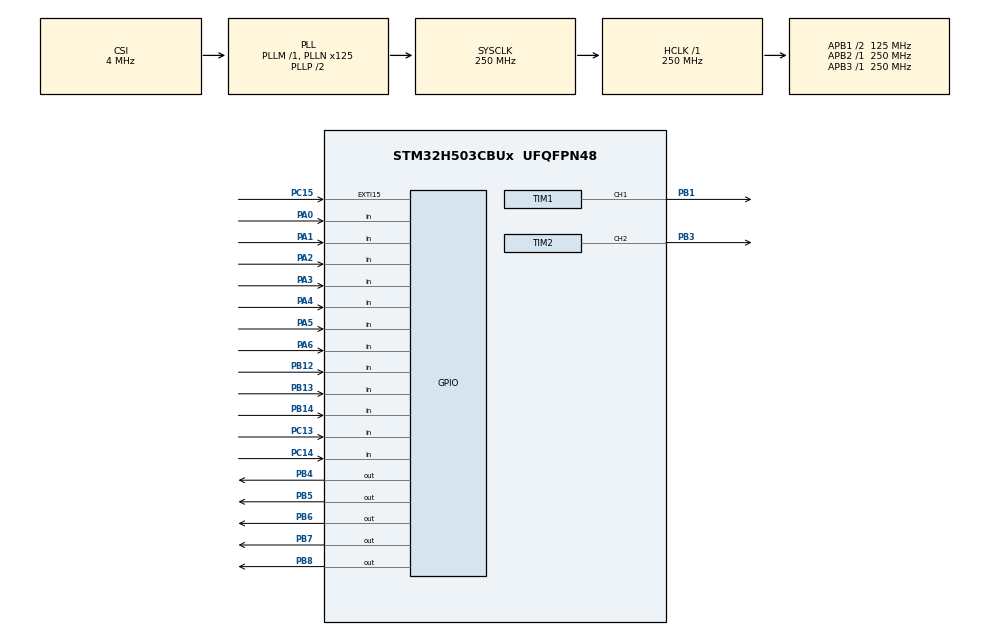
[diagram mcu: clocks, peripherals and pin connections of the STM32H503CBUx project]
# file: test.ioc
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BOOTPATH.BootPathName=LEGACY
BOOTPATH.UserSelectedBootPath=LEGACY
Mcu.Family=STM32H5
Mcu.Name=STM32H503CBUx
Mcu.Package=UFQFPN48
NVIC.EXTI15_IRQn=true\:0\:0\:false\:false\:true\:true\:true\:true
NVIC.PriorityGroup=NVIC_PRIORITYGROUP_4
PA0.Signal=GPIO_Input
PA1.Signal=GPIO_Input
PA2.Signal=GPIO_Input
PA3.Signal=GPIO_Input
PA4.Signal=GPIO_Input
PA5.Signal=GPIO_Input
PA6.Signal=GPIO_Input
PB1.Signal=S_TIM1_CH1
PB12.GPIO_PuPd=GPIO_PULLUP
PB12.Signal=GPIO_Input
PB13.GPIO_PuPd=GPIO_PULLUP
PB13.Signal=GPIO_Input
PB14.GPIO_PuPd=GPIO_PULLUP
PB14.Signal=GPIO_Input
PB3(JTDO/TRACESWO).Signal=S_TIM2_CH2
PB4(NJTRST).Signal=GPIO_Output
PB5.Signal=GPIO_Output
PB6.Signal=GPIO_Output
PB7.Signal=GPIO_Output
PB8.Signal=GPIO_Output
PC13.Signal=GPIO_Input
PC14-OSC32_IN(OSC32_IN).Signal=GPIO_Input
PC15-OSC32_OUT(OSC32_OUT).Signal=GPXTI15
ProjectManager.HeapSize=0x200
ProjectManager.StackSize=0x400
ProjectManager.TargetToolchain=STM32CubeIDE
RCC.ADCFreq_Value=250000000
RCC.AHBFreq_Value=250000000
RCC.APB1CLKDivider=RCC_HCLK_DIV2
RCC.APB1Freq_Value=125000000
RCC.APB1TimFreq_Value=250000000
RCC.APB2Freq_Value=250000000
RCC.APB2TimFreq_Value=250000000
RCC.APB3Freq_Value=250000000
RCC.CSI_VALUE=4000000
RCC.CortexFreq_Value=250000000
RCC.EPOD_VALUE=4000000
RCC.HCLKFreq_Value=250000000
RCC.HSE_VALUE=25000000
RCC.HSI48_VALUE=48000000
RCC.HSI_VALUE=64000000
RCC.LSE_VALUE=32768
RCC.LSIRC_VALUE=32000
RCC.PLL2FRACN=0
RCC.PLLFRACN=0
RCC.PLLN=125
RCC.SYSCLKFreq_VALUE=250000000
RCC.SYSCLKSource=RCC_SYSCLKSOURCE_PLLCLK
RCC.USBFreq_Value=48000000
RCC.VCOOutputFreq_Value=500000000
SH.S_TIM1_CH1.0=TIM1_CH1,PWM Generation1 CH1
SH.S_TIM2_CH2.0=TIM2_CH2,PWM Generation2 CH2
TIM1.Channel-PWM\ Generation1\ CH1=TIM_CHANNEL_1
TIM1.PeriodNoDither=999
TIM1.Prescaler=79
TIM1.PulseNoDither_1=499
TIM2.Channel-PWM\ Generation2\ CH2=TIM_CHANNEL_2
TIM2.PeriodNoDither=999
TIM2.Prescaler=79
TIM2.PulseNoDither_2=199
VP_BOOTPATH_VS_BOOTPATH.Mode=BP_Activate
VP_CORTEX_M33_NS_VS_Hclk.Mode=Hclk_Mode
VP_MEMORYMAP_VS_MEMORYMAP.Mode=CurAppReg
VP_PWR_VS_LPOM.Mode=PowerOptimisation
VP_PWR_VS_SECSignals.Mode=Security/Privilege
VP_TIM1_VS_ClockSourceINT.Mode=Internal
VP_TIM2_VS_ClockSourceINT.Mode=Internal
board=custom

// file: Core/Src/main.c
/* USER CODE BEGIN Header */
/**
 ******************************************************************************
 * @file           : main.c
 * @brief          : Main program body
 ******************************************************************************
 * @attention
 *
 * Copyright (c) 2025 STMicroelectronics.
 * All rights reserved.
 *
 * This software is licensed under terms that can be found in the LICENSE file
 * in the root directory of this software component.
 * If no LICENSE file comes with this software, it is provided AS-IS.
 *
 ******************************************************************************
 */
/* USER CODE END Header */
#include "main.h"
#include <stdlib.h> // thêm dòng này vào đầu file main.c

/* USER CODE BEGIN Includes */
//#include "stm32h"
/* USER CODE END Includes */

/* USER CODE BEGIN PD */

#define PWA TIM_CHANNEL_1
#define PWB TIM_CHANNEL_2
#define BIN1 GPIO_PIN_4
#define BIN2 GPIO_PIN_5
#define AIN1 GPIO_PIN_6
#define AIN2 GPIO_PIN_7
#define STB GPIO_PIN_8
/* USER CODE END PD */

/* USER CODE BEGIN PM */
volatile uint32_t _millis = 0;

/* USER CODE END PM */

TIM_HandleTypeDef htim1;
TIM_HandleTypeDef htim2;

/* USER CODE BEGIN PV */
uint8_t sensor[7];
// PID config
float Kp = 140;	// 130	//90	// 130
float Ki = 0;
float Kd = 30;	//30	//30

float error = 0, P = 0, I = 0, D = 0, PID_value = 0;
float previous_error = 0, previous_I = 0;
int16_t initial_motor_speed = 380;	// 500	// 375
int16_t left_motor_speed, right_motor_speed;

uint8_t stop_flag;
volatile uint8_t count = 0;
uint8_t pre_status = 0;
/* USER CODE END PV */

void SystemClock_Config(void);
static void MX_GPIO_Init(void);
static void MX_TIM1_Init(void);
static void MX_TIM2_Init(void);
/* USER CODE BEGIN PFP */

//void SysTick_Handler(void) {
//    _millis++;
//}
void millis_init(void) {
	// Reload = (HCLK / 1000) - 1  -> mỗi 1ms
	// Nếu HCLK = 250 MHz -> Reload = 250000 - 1
	uint32_t reload = (SystemCoreClock / 1000) - 1;

	SysTick->LOAD = reload;                // Giá trị reload
	SysTick->VAL = 0;                     // Reset counter
	SysTick->CTRL = SysTick_CTRL_CLKSOURCE_Msk | // Nguồn clock = HCLK
			SysTick_CTRL_TICKINT_Msk | // Enable ngắt
			SysTick_CTRL_ENABLE_Msk;     // Bật SysTick
}

uint32_t millis(void) {
	return _millis;
}

void sensor_read() {
	sensor[0] = HAL_GPIO_ReadPin(GPIOA, GPIO_PIN_0);
	sensor[1] = HAL_GPIO_ReadPin(GPIOA, GPIO_PIN_1);
	sensor[2] = HAL_GPIO_ReadPin(GPIOA, GPIO_PIN_2);
	sensor[3] = HAL_GPIO_ReadPin(GPIOA, GPIO_PIN_3);
	sensor[4] = HAL_GPIO_ReadPin(GPIOA, GPIO_PIN_4);
	sensor[5] = HAL_GPIO_ReadPin(GPIOA, GPIO_PIN_5);
	sensor[6] = HAL_GPIO_ReadPin(GPIOA, GPIO_PIN_6);
	//stop_flag = HAL_GPIO_ReadPin(GPIOC,  GPIO_PIN_15);
}

void calculate_error() {
	sensor_read();
// white line

	if ((sensor[0] == 1) && (sensor[1] == 1) && (sensor[2] == 0)
				&& (sensor[3] == 0) && sensor[4] == 1 && sensor[5] == 1
				&& sensor[6] == 1)
			error = -0.15;	//-0.2

		else if ((sensor[0] == 1) && (sensor[1] == 1) && (sensor[2] == 1)
				&& (sensor[3] == 0) && sensor[4] == 1 && sensor[5] == 1
				&& sensor[6] == 1)  // go straight
			error = 0;

		else if ((sensor[0] == 1) && (sensor[1] == 1) && (sensor[2] == 1)
				&& (sensor[3] == 0) && sensor[4] == 0 && sensor[5] == 1
				&& sensor[6] == 1)
			error = 0.15;
		else if ((sensor[0] == 0) && (sensor[1] == 1) && (sensor[2] == 1)
			&& (sensor[3] == 1) && (sensor[4] == 1) && (sensor[5] == 1)
			&& (sensor[6] == 1))
		error = -5;		// -5

		else if ((sensor[0] == 0) && (sensor[1] == 0) && (sensor[2] == 1)
				&& (sensor[3] == 1) && (sensor[4] == 1) && (sensor[5] == 1)
				&& (sensor[6] == 1))
			error = -4;		//-4

		else if ((sensor[0] == 1) && (sensor[1] == 0) && (sensor[2] == 1)
				&& (sensor[3] == 1) && (sensor[4] == 1) && (sensor[5] == 1)
				&& (sensor[6] == 1))
			error = -3;		//-3

		else if ((sensor[0] == 1) && (sensor[1] == 0) && (sensor[2] == 0)
				&& (sensor[3] == 1) && (sensor[4] == 1) && (sensor[5] == 1)
				&& (sensor[6] == 1))
			error = -1.2;		//-1.5

		else if ((sensor[0] == 1) && (sensor[1] == 1) && (sensor[2] == 0)
				&& (sensor[3] == 1) && (sensor[4] == 1) && (sensor[5] == 1)
				&& (sensor[6] == 1))
			error = -0.8;		//-0.8

		else if ((sensor[0] == 1) && (sensor[1] == 1) && (sensor[2] == 1)
				&& (sensor[3] == 1) && sensor[4] == 0 && sensor[5] == 1
				&& sensor[6] == 1)
			error = 0.8;

		else if ((sensor[0] == 1) && (sensor[1] == 1) && (sensor[2] == 1)
				&& (sensor[3] == 1) && sensor[4] == 0 && sensor[5] == 0
				&& sensor[6] == 1)
			error = 1.2;

		else if ((sensor[0] == 1) && (sensor[1] == 1) && (sensor[2] == 1)
				&& (sensor[3] == 1) && sensor[4] == 1 && sensor[5] == 0
				&& sensor[6] == 1)
			error = 3;

		else if ((sensor[0] == 1) && (sensor[1] == 1) && (sensor[2] == 1)
				&& (sensor[3] == 1) && sensor[4] == 1 && sensor[5] == 0
				&& sensor[6] == 0)
			error = 4;

		else if ((sensor[0] == 1) && (sensor[1] == 1) && (sensor[2] == 1)
				&& (sensor[3] == 1) && sensor[4] == 1 && sensor[5] == 1
				&& sensor[6] == 0)
			error = 5;

/*
	if ((sensor[0] == 0) && (sensor[1] == 1) && (sensor[2] == 1)
			&& (sensor[3] == 1) && (sensor[4] == 1) && (sensor[5] == 1)
			&& (sensor[6] == 1))
		error = -5;		// -5

	else if ((sensor[0] == 0) && (sensor[1] == 0) && (sensor[2] == 1)
			&& (sensor[3] == 1) && (sensor[4] == 1) && (sensor[5] == 1)
			&& (sensor[6] == 1))
		error = -4;		//-4

	else if ((sensor[0] == 1) && (sensor[1] == 0) && (sensor[2] == 1)
			&& (sensor[3] == 1) && (sensor[4] == 1) && (sensor[5] == 1)
			&& (sensor[6] == 1))
		error = -3;		//-3

	else if ((sensor[0] == 1) && (sensor[1] == 0) && (sensor[2] == 0)
			&& (sensor[3] == 1) && (sensor[4] == 1) && (sensor[5] == 1)
			&& (sensor[6] == 1))
		error = -1.2;		//-1.5

	else if ((sensor[0] == 1) && (sensor[1] == 1) && (sensor[2] == 0)
			&& (sensor[3] == 1) && (sensor[4] == 1) && (sensor[5] == 1)
			&& (sensor[6] == 1))
		error = -0.8;		//-0.8

	else if ((sensor[0] == 1) && (sensor[1] == 1) && (sensor[2] == 0)
			&& (sensor[3] == 0) && sensor[4] == 1 && sensor[5] == 1
			&& sensor[6] == 1)
		error = -0.15;	//-0.2

	else if ((sensor[0] == 1) && (sensor[1] == 1) && (sensor[2] == 1)
			&& (sensor[3] == 0) && sensor[4] == 1 && sensor[5] == 1
			&& sensor[6] == 1)  // go straight
		error = 0;

	else if ((sensor[0] == 1) && (sensor[1] == 1) && (sensor[2] == 1)
			&& (sensor[3] == 0) && sensor[4] == 0 && sensor[5] == 1
			&& sensor[6] == 1)
		error = 0.15;

	else if ((sensor[0] == 1) && (sensor[1] == 1) && (sensor[2] == 1)
			&& (sensor[3] == 1) && sensor[4] == 0 && sensor[5] == 1
			&& sensor[6] == 1)
		error = 0.8;

	else if ((sensor[0] == 1) && (sensor[1] == 1) && (sensor[2] == 1)
			&& (sensor[3] == 1) && sensor[4] == 0 && sensor[5] == 0
			&& sensor[6] == 1)
		error = 1.2;

	else if ((sensor[0] == 1) && (sensor[1] == 1) && (sensor[2] == 1)
			&& (sensor[3] == 1) && sensor[4] == 1 && sensor[5] == 0
			&& sensor[6] == 1)
		error = 3;

	else if ((sensor[0] == 1) && (sensor[1] == 1) && (sensor[2] == 1)
			&& (sensor[3] == 1) && sensor[4] == 1 && sensor[5] == 0
			&& sensor[6] == 0)
		error = 4;

	else if ((sensor[0] == 1) && (sensor[1] == 1) && (sensor[2] == 1)
			&& (sensor[3] == 1) && sensor[4] == 1 && sensor[5] == 1
			&& sensor[6] == 0)
		error = 5;

		*/
	/*
	 // black line
	 if ((sensor[0] == 1) && (sensor[1] == 0) && (sensor[2] == 0) && (sensor[3] == 0) && (sensor[4] == 0) && (sensor[5] == 0) && (sensor[6] == 0))
	 error = -3;

	 else if ((sensor[0] == 1) && (sensor[1] == 1) && (sensor[2] == 0) && (sensor[3] == 0) && (sensor[4] == 0) && (sensor[5] == 0) && (sensor[6] == 0))
	 error = -2.5;

	 else if ((sensor[0] == 0) && (sensor[1] == 1) && (sensor[2] == 0) && (sensor[3] == 0) && (sensor[4] == 0) && (sensor[5] == 0) && (sensor[6] == 0))
	 error = -2;

	 else if ((sensor[0] == 0) && (sensor[1] == 1) && (sensor[2] == 1) && (sensor[3] == 0) && (sensor[4] == 0) && (sensor[5] == 0) && (sensor[6] == 0))
	 error = -1.5;

	 else if ((sensor[0] == 0) && (sensor[1] == 0) && (sensor[2] == 1) && (sensor[3] == 0) && (sensor[4] == 0) && (sensor[5] == 0) && (sensor[6] == 0))
	 error = -1;

	 else if ((sensor[0] == 0) && (sensor[1] == 0) && (sensor[2] == 1) && (sensor[3] == 1) && (sensor[4] == 0) && (sensor[5] == 0) && (sensor[6] == 0))
	 error = -0.5;

	 else if ((sensor[0] == 0) && (sensor[1] == 0) && (sensor[2] == 0) && (sensor[3] == 1) && (sensor[4] == 0) && (sensor[5] == 0) && (sensor[6] == 0))
	 error = 0;

	 else if ((sensor[0] == 0) && (sensor[1] == 0) && (sensor[2] == 0) && (sensor[3] == 1) && (sensor[4] == 1) && (sensor[5] == 0) && (sensor[6] == 0))
	 error = 0.5;

	 else if ((sensor[0] == 0) && (sensor[1] == 0) && (sensor[2] == 0) && (sensor[3] == 0) && (sensor[4] == 1) && (sensor[5] == 0) && (sensor[6] == 0))
	 error = 1;

	 else if ((sensor[0] == 0) && (sensor[1] == 0) && (sensor[2] == 0) && (sensor[3] == 0) && (sensor[4] == 1) && (sensor[5] == 1) && (sensor[6] == 0))
	 error = 1.5;

	 else if ((sensor[0] == 0) && (sensor[1] == 0) && (sensor[2] == 0) && (sensor[3] == 0) && (sensor[4] == 0) && (sensor[5] == 1) && (sensor[6] == 0))
	 error = 2;

	 else if ((sensor[0] == 0) && (sensor[1] == 0) && (sensor[2] == 0) && (sensor[3] == 0) && (sensor[4] == 0) && (sensor[5] == 1) && (sensor[6] == 1))
	 error = 2.5;

	 else if ((sensor[0] == 0) && (sensor[1] == 0) && (sensor[2] == 0) && (sensor[3] == 0) && (sensor[4] == 0) && (sensor[5] == 0) && (sensor[6] == 1))
	 error = 3;
	 */
}

void forward() {
	HAL_GPIO_WritePin(GPIOB, GPIO_PIN_6, 0);
	HAL_GPIO_WritePin(GPIOB, GPIO_PIN_7, 1);
	HAL_GPIO_WritePin(GPIOB, GPIO_PIN_4, 1);
	HAL_GPIO_WritePin(GPIOB, GPIO_PIN_5, 0);
}

void set_speed(int16_t speed1, int16_t speed2) {

	if (speed1 < 0) {
		HAL_GPIO_WritePin(GPIOB, GPIO_PIN_6, 1);
		HAL_GPIO_WritePin(GPIOB, GPIO_PIN_7, 0);
	} else {
		HAL_GPIO_WritePin(GPIOB, GPIO_PIN_6, 0);
		HAL_GPIO_WritePin(GPIOB, GPIO_PIN_7, 1);
	}
	if (speed2 < 0) {
		HAL_GPIO_WritePin(GPIOB, GPIO_PIN_4, 0);
		HAL_GPIO_WritePin(GPIOB, GPIO_PIN_5, 1);
	} else {
		HAL_GPIO_WritePin(GPIOB, GPIO_PIN_4, 1);
		HAL_GPIO_WritePin(GPIOB, GPIO_PIN_5, 0);
	}

	__HAL_TIM_SET_COMPARE(&htim1, TIM_CHANNEL_1, abs(speed1));
	__HAL_TIM_SET_COMPARE(&htim2, TIM_CHANNEL_2, abs(speed2));
	/*
	 __HAL_TIM_SET_COMPARE(&htim1, TIM_CHANNEL_1, abs(speed1));
	 __HAL_TIM_SET_COMPARE(&htim2, TIM_CHANNEL_2, abs(speed2));
	 */

}

int constrain(int x, int a, int b) {
	if (x < a)
		return a;
	else if (x > b)
		return b;
	else
		return x;
}

void calculate_pid() {
	P = error;
	I = I + error;
	D = error - previous_error;

	PID_value = (Kp * P) + (Ki * I) + (Kd * D);

	previous_I = I;
	previous_error = error;
}

void motor_control() {
	// Calculating the effective motor speed:

	left_motor_speed = initial_motor_speed + PID_value;   //200
	right_motor_speed = initial_motor_speed - PID_value;  //0

	left_motor_speed = constrain(left_motor_speed, -300, 999);    //0
	right_motor_speed = constrain(right_motor_speed, -300, 999);  //210

	set_speed(left_motor_speed, right_motor_speed);

	//forward();
}
/* USER CODE END PFP */

/* USER CODE BEGIN 0 */

void HAL_GPIO_EXTI_Rising_Callback(uint16_t GPIO_Pin) {
	UNUSED(GPIO_Pin);

	count++;
//	if (count == 14) {
//		Kp = 150;	// 130	//90	// 130
//		Ki = 0;
//		Kd = 30;
//		initial_motor_speed = 380;
//	}

	if (count == 14) {
		set_speed(500, 500);
		forward();
		//HAL_Delay(300);
		for (int i = 0; i < 1000000; i++)
			;
		set_speed(0, 0);

		while (1)
			;
	}

}

/* USER CODE END 0 */

int main(void) {

	/* MCU Configuration--------------------------------------------------------*/

	/* Reset of all peripherals, Initializes the Flash interface and the Systick. */
	HAL_Init();

	/* Configure the system clock */
	SystemClock_Config();

	/* Initialize all configured peripherals */
	MX_GPIO_Init();
	MX_TIM1_Init();
	MX_TIM2_Init();
	millis_init();
	/* USER CODE BEGIN 2 */
	HAL_TIM_PWM_Start(&htim1, TIM_CHANNEL_1);
	HAL_TIM_PWM_Start(&htim2, TIM_CHANNEL_2);

	HAL_GPIO_WritePin(GPIOB, GPIO_PIN_8, 1);	// enable STBY
	//int i=0;
	/* USER CODE END 2 */

	/* Infinite loop */
	/* USER CODE BEGIN WHILE */

	HAL_GPIO_WritePin(GPIOB, GPIO_PIN_8, 1);	// enable STBY
	while (1) {
		if (HAL_GPIO_ReadPin(GPIOB, GPIO_PIN_12) == 0)
		{
			Kp = 160;	// 130	//90	// 130	//175
			Ki = 0;
			Kd = 110;		//70	//100
			initial_motor_speed = 600;	//600
			break;
		}

		if (HAL_GPIO_ReadPin(GPIOB, GPIO_PIN_13) == 0)
		{
			Kp = 175;	// 130	//90	// 130	//175
			Ki = 0;
			Kd = 115;		//70	//100
			initial_motor_speed = 650;	//600
			break;
		}

		if (HAL_GPIO_ReadPin(GPIOB, GPIO_PIN_14) == 0)
		{
			Kp = 180;	// 130	//90	// 130	//175
			Ki = 0;
			Kd = 120;		//70	//100
			initial_motor_speed = 700;	//600
			break;
		}

	}
	HAL_Delay(1000);
	set_speed(400, 400);
	forward();
	HAL_Delay(200);
	while (1) {
		calculate_error();
		calculate_pid();
		motor_control();

	}
	/* USER CODE END 3 */
}

void SystemClock_Config(void) {
	RCC_OscInitTypeDef RCC_OscInitStruct = { 0 };
	RCC_ClkInitTypeDef RCC_ClkInitStruct = { 0 };

	/** Configure the main internal regulator output voltage
	 */
	__HAL_PWR_VOLTAGESCALING_CONFIG(PWR_REGULATOR_VOLTAGE_SCALE0);

	while (!__HAL_PWR_GET_FLAG(PWR_FLAG_VOSRDY)) {
	}

	/** Initializes the RCC Oscillators according to the specified parameters
	 * in the RCC_OscInitTypeDef structure.
	 */
	RCC_OscInitStruct.OscillatorType = RCC_OSCILLATORTYPE_CSI;
	RCC_OscInitStruct.CSIState = RCC_CSI_ON;
	RCC_OscInitStruct.CSICalibrationValue = RCC_CSICALIBRATION_DEFAULT;
	RCC_OscInitStruct.PLL.PLLState = RCC_PLL_ON;
	RCC_OscInitStruct.PLL.PLLSource = RCC_PLL1_SOURCE_CSI;
	RCC_OscInitStruct.PLL.PLLM = 1;
	RCC_OscInitStruct.PLL.PLLN = 125;
	RCC_OscInitStruct.PLL.PLLP = 2;
	RCC_OscInitStruct.PLL.PLLQ = 2;
	RCC_OscInitStruct.PLL.PLLR = 2;
	RCC_OscInitStruct.PLL.PLLRGE = RCC_PLL1_VCIRANGE_2;
	RCC_OscInitStruct.PLL.PLLVCOSEL = RCC_PLL1_VCORANGE_WIDE;
	RCC_OscInitStruct.PLL.PLLFRACN = 0;
	if (HAL_RCC_OscConfig(&RCC_OscInitStruct) != HAL_OK) {
		Error_Handler();
	}

	/** Initializes the CPU, AHB and APB buses clocks
	 */
	RCC_ClkInitStruct.ClockType = RCC_CLOCKTYPE_HCLK | RCC_CLOCKTYPE_SYSCLK
			| RCC_CLOCKTYPE_PCLK1 | RCC_CLOCKTYPE_PCLK2 | RCC_CLOCKTYPE_PCLK3;
	RCC_ClkInitStruct.SYSCLKSource = RCC_SYSCLKSOURCE_PLLCLK;
	RCC_ClkInitStruct.AHBCLKDivider = RCC_SYSCLK_DIV1;
	RCC_ClkInitStruct.APB1CLKDivider = RCC_HCLK_DIV2;
	RCC_ClkInitStruct.APB2CLKDivider = RCC_HCLK_DIV1;
	RCC_ClkInitStruct.APB3CLKDivider = RCC_HCLK_DIV1;

	if (HAL_RCC_ClockConfig(&RCC_ClkInitStruct, FLASH_LATENCY_5) != HAL_OK) {
		Error_Handler();
	}

	/** Configure the programming delay
	 */
	__HAL_FLASH_SET_PROGRAM_DELAY(FLASH_PROGRAMMING_DELAY_2);
}

static void MX_TIM1_Init(void) {

	TIM_ClockConfigTypeDef sClockSourceConfig = { 0 };
	TIM_MasterConfigTypeDef sMasterConfig = { 0 };
	TIM_OC_InitTypeDef sConfigOC = { 0 };
	TIM_BreakDeadTimeConfigTypeDef sBreakDeadTimeConfig = { 0 };

	htim1.Instance = TIM1;
	htim1.Init.Prescaler = 79;
	htim1.Init.CounterMode = TIM_COUNTERMODE_UP;
	htim1.Init.Period = 999;
	htim1.Init.ClockDivision = TIM_CLOCKDIVISION_DIV1;
	htim1.Init.RepetitionCounter = 0;
	htim1.Init.AutoReloadPreload = TIM_AUTORELOAD_PRELOAD_DISABLE;
	if (HAL_TIM_Base_Init(&htim1) != HAL_OK) {
		Error_Handler();
	}
	sClockSourceConfig.ClockSource = TIM_CLOCKSOURCE_INTERNAL;
	if (HAL_TIM_ConfigClockSource(&htim1, &sClockSourceConfig) != HAL_OK) {
		Error_Handler();
	}
	if (HAL_TIM_PWM_Init(&htim1) != HAL_OK) {
		Error_Handler();
	}
	sMasterConfig.MasterOutputTrigger = TIM_TRGO_RESET;
	sMasterConfig.MasterOutputTrigger2 = TIM_TRGO2_RESET;
	sMasterConfig.MasterSlaveMode = TIM_MASTERSLAVEMODE_DISABLE;
	if (HAL_TIMEx_MasterConfigSynchronization(&htim1, &sMasterConfig)
			!= HAL_OK) {
		Error_Handler();
	}
	sConfigOC.OCMode = TIM_OCMODE_PWM1;
	sConfigOC.Pulse = 499;
	sConfigOC.OCPolarity = TIM_OCPOLARITY_HIGH;
	sConfigOC.OCNPolarity = TIM_OCNPOLARITY_HIGH;
	sConfigOC.OCFastMode = TIM_OCFAST_DISABLE;
	sConfigOC.OCIdleState = TIM_OCIDLESTATE_RESET;
	sConfigOC.OCNIdleState = TIM_OCNIDLESTATE_RESET;
	if (HAL_TIM_PWM_ConfigChannel(&htim1, &sConfigOC, TIM_CHANNEL_1)
			!= HAL_OK) {
		Error_Handler();
	}
	sBreakDeadTimeConfig.OffStateRunMode = TIM_OSSR_DISABLE;
	sBreakDeadTimeConfig.OffStateIDLEMode = TIM_OSSI_DISABLE;
	sBreakDeadTimeConfig.LockLevel = TIM_LOCKLEVEL_OFF;
	sBreakDeadTimeConfig.DeadTime = 0;
	sBreakDeadTimeConfig.BreakState = TIM_BREAK_DISABLE;
	sBreakDeadTimeConfig.BreakPolarity = TIM_BREAKPOLARITY_HIGH;
	sBreakDeadTimeConfig.BreakFilter = 0;
	sBreakDeadTimeConfig.BreakAFMode = TIM_BREAK_AFMODE_INPUT;
	sBreakDeadTimeConfig.Break2State = TIM_BREAK2_DISABLE;
	sBreakDeadTimeConfig.Break2Polarity = TIM_BREAK2POLARITY_HIGH;
	sBreakDeadTimeConfig.Break2Filter = 0;
	sBreakDeadTimeConfig.Break2AFMode = TIM_BREAK_AFMODE_INPUT;
	sBreakDeadTimeConfig.AutomaticOutput = TIM_AUTOMATICOUTPUT_DISABLE;
	if (HAL_TIMEx_ConfigBreakDeadTime(&htim1, &sBreakDeadTimeConfig)
			!= HAL_OK) {
		Error_Handler();
	}
	HAL_TIM_MspPostInit(&htim1);

}

static void MX_TIM2_Init(void) {

	TIM_ClockConfigTypeDef sClockSourceConfig = { 0 };
	TIM_MasterConfigTypeDef sMasterConfig = { 0 };
	TIM_OC_InitTypeDef sConfigOC = { 0 };

	htim2.Instance = TIM2;
	htim2.Init.Prescaler = 79;
	htim2.Init.CounterMode = TIM_COUNTERMODE_UP;
	htim2.Init.Period = 999;
	htim2.Init.ClockDivision = TIM_CLOCKDIVISION_DIV1;
	htim2.Init.AutoReloadPreload = TIM_AUTORELOAD_PRELOAD_DISABLE;
	if (HAL_TIM_Base_Init(&htim2) != HAL_OK) {
		Error_Handler();
	}
	sClockSourceConfig.ClockSource = TIM_CLOCKSOURCE_INTERNAL;
	if (HAL_TIM_ConfigClockSource(&htim2, &sClockSourceConfig) != HAL_OK) {
		Error_Handler();
	}
	if (HAL_TIM_PWM_Init(&htim2) != HAL_OK) {
		Error_Handler();
	}
	sMasterConfig.MasterOutputTrigger = TIM_TRGO_RESET;
	sMasterConfig.MasterSlaveMode = TIM_MASTERSLAVEMODE_DISABLE;
	if (HAL_TIMEx_MasterConfigSynchronization(&htim2, &sMasterConfig)
			!= HAL_OK) {
		Error_Handler();
	}
	sConfigOC.OCMode = TIM_OCMODE_PWM1;
	sConfigOC.Pulse = 199;
	sConfigOC.OCPolarity = TIM_OCPOLARITY_HIGH;
	sConfigOC.OCFastMode = TIM_OCFAST_DISABLE;
	if (HAL_TIM_PWM_ConfigChannel(&htim2, &sConfigOC, TIM_CHANNEL_2)
			!= HAL_OK) {
		Error_Handler();
	}
	HAL_TIM_MspPostInit(&htim2);

}

static void MX_GPIO_Init(void) {
	GPIO_InitTypeDef GPIO_InitStruct = { 0 };

	/* GPIO Ports Clock Enable */
	__HAL_RCC_GPIOC_CLK_ENABLE();
	__HAL_RCC_GPIOA_CLK_ENABLE();
	__HAL_RCC_GPIOB_CLK_ENABLE();

	/*Configure GPIO pin Output Level */
	HAL_GPIO_WritePin(GPIOB,
			GPIO_PIN_4 | GPIO_PIN_5 | GPIO_PIN_6 | GPIO_PIN_7 | GPIO_PIN_8,
			GPIO_PIN_RESET);

	/*Configure GPIO pins : PC13 PC14 */
	GPIO_InitStruct.Pin = GPIO_PIN_13 | GPIO_PIN_14;
	GPIO_InitStruct.Mode = GPIO_MODE_INPUT;
	GPIO_InitStruct.Pull = GPIO_NOPULL;
	HAL_GPIO_Init(GPIOC, &GPIO_InitStruct);

	/*Configure GPIO pin : PC15 */
	GPIO_InitStruct.Pin = GPIO_PIN_15;
	GPIO_InitStruct.Mode = GPIO_MODE_IT_RISING;
	GPIO_InitStruct.Pull = GPIO_NOPULL;
	HAL_GPIO_Init(GPIOC, &GPIO_InitStruct);

	/*Configure GPIO pins : PA0 PA1 PA2 PA3
	 PA4 PA5 PA6 */
	GPIO_InitStruct.Pin = GPIO_PIN_0 | GPIO_PIN_1 | GPIO_PIN_2 | GPIO_PIN_3
			| GPIO_PIN_4 | GPIO_PIN_5 | GPIO_PIN_6;
	GPIO_InitStruct.Mode = GPIO_MODE_INPUT;
	GPIO_InitStruct.Pull = GPIO_NOPULL;
	HAL_GPIO_Init(GPIOA, &GPIO_InitStruct);

	/*Configure GPIO pins : PB12 PB13 PB14 */
	GPIO_InitStruct.Pin = GPIO_PIN_12 | GPIO_PIN_13 | GPIO_PIN_14;
	GPIO_InitStruct.Mode = GPIO_MODE_INPUT;
	GPIO_InitStruct.Pull = GPIO_PULLUP;
	HAL_GPIO_Init(GPIOB, &GPIO_InitStruct);

	/*Configure GPIO pins : PB4 PB5 PB6 PB7
	 PB8 */
	GPIO_InitStruct.Pin = GPIO_PIN_4 | GPIO_PIN_5 | GPIO_PIN_6 | GPIO_PIN_7
			| GPIO_PIN_8;
	GPIO_InitStruct.Mode = GPIO_MODE_OUTPUT_PP;
	GPIO_InitStruct.Pull = GPIO_NOPULL;
	GPIO_InitStruct.Speed = GPIO_SPEED_FREQ_LOW;
	HAL_GPIO_Init(GPIOB, &GPIO_InitStruct);

	/* EXTI interrupt init*/
	HAL_NVIC_SetPriority(EXTI15_IRQn, 0, 0);
	HAL_NVIC_EnableIRQ(EXTI15_IRQn);

}

void Error_Handler(void) {
	__disable_irq();
	while (1) {
	}
}
